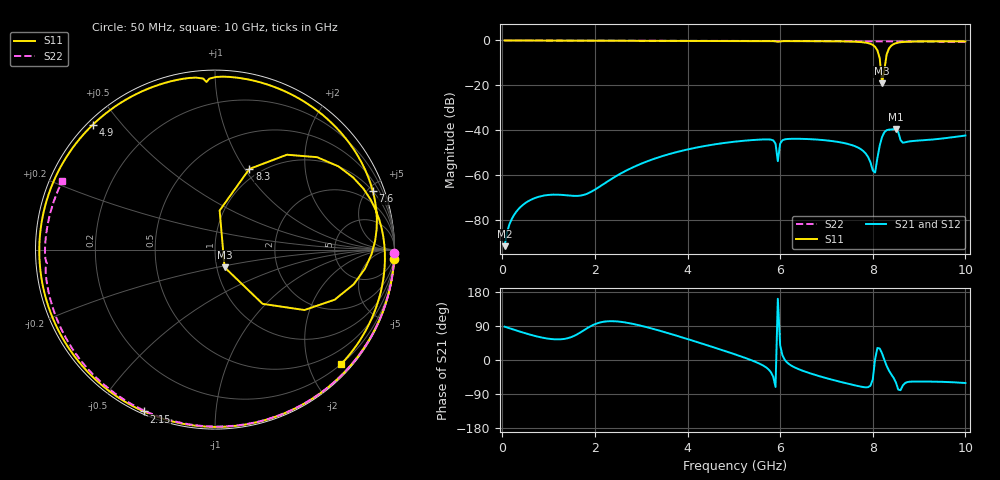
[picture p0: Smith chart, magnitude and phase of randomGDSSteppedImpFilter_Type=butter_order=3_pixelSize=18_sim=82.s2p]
! freq	dB(S11)	phase(S11)	dB(S12)	phase(S12)
!  dB(S21)	phase(S21)	dB(S22)	phase(S22)
!S-par simulation data
#  GHz  S  DB  R 50
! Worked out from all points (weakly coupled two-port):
!   200 points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, 50 MHz to 10 GHz, reference 50 ohm
!   highest |S21| = -39.46 dB at 8.5 GHz (marker M1); lowest = -91.7 dB at 50 MHz (marker M2)
!   lowest |S11| = -19.0 dB at 8.2 GHz (marker M3), VSWR 1.25, Z = 54.5 - j10.9 ohm
!   |S11| at or under -10 dB: 8.159 GHz to 8.273 GHz (113.5 MHz wide, 1.38 % of centre)
!   |S22| runs from -0.6 to 0.0 dB; largest |S21 - S12| = 0
!   S11 on the Smith chart (normalised r, x): 50 MHz: 0, -39; 2.15 GHz: 0.01, -0.65; 4.9 GHz: 0.02, +0.42; 7.6 GHz: 1.00, +5.40; 8.3 GHz: 0.89, +1.05; 10 GHz: 0.20, -2.58
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0.05  -0.00 -2.9  -91.69 88.0  -91.69 88.0  -0.00 -1.2
0.75  -0.06 -42.9  -69.91 62.1  -69.91 62.1  -0.02 -17.9
1.75  -0.11 -95.0  -68.88 77.5  -68.88 77.5  -0.05 -41.1
2.15  -0.13 -113.8  -64.49 100.1  -64.49 100.1  -0.06 -50.2
3.4  -0.17 -166.9  -51.92 77.3  -51.92 77.3  -0.10 -77.2
4.9  -0.23 134.5  -45.40 20.0  -45.40 20.0  -0.16 -107.3
5.05  -0.24 128.6  -45.05 13.8  -45.05 13.8  -0.17 -110.1
5.85  -0.32 96.3  -44.52 -43.9  -44.52 -43.9  -0.21 -125.3
5.9  -0.40 94.0  -45.98 -71.1  -45.98 -71.1  -0.22 -126.2
5.95  -0.58 92.9  -53.81 161.7  -53.81 161.7  -0.24 -127.1
6  -0.42 91.9  -45.97 38.8  -45.97 38.8  -0.23 -128.0
6.05  -0.34 89.6  -44.47 12.1  -44.47 12.1  -0.23 -128.9
6.7  -0.32 62.2  -44.05 -37.2  -44.05 -37.2  -0.27 -140.9
7.6  -0.56 20.3  -47.01 -66.5  -47.01 -66.5  -0.34 -157.5
8.05  -2.82 -22.7  -58.88 1.9  -58.88 1.9  -0.38 -165.9
8.15  -7.91 -48.7  -46.88 30.3  -46.88 30.3  -0.39 -167.7
8.2  -19.02 -61.6  -43.09 17.5  -43.09 17.5  -0.40 -168.7
8.3  -6.23 66.9  -39.99 -15.5  -39.99 -15.5  -0.41 -170.6
8.35  -3.57 52.8  -39.75 -28.1  -39.75 -28.1  -0.42 -171.6
8.5  -1.23 27.6  -39.46 -59.6  -39.46 -59.6  -0.49 -174.6
8.65  -0.70 13.8  -45.57 -66.9  -45.57 -66.9  -0.48 -176.8
10  -0.45 -42.2  -42.37 -60.8  -42.37 -60.8  -0.61 156.0
